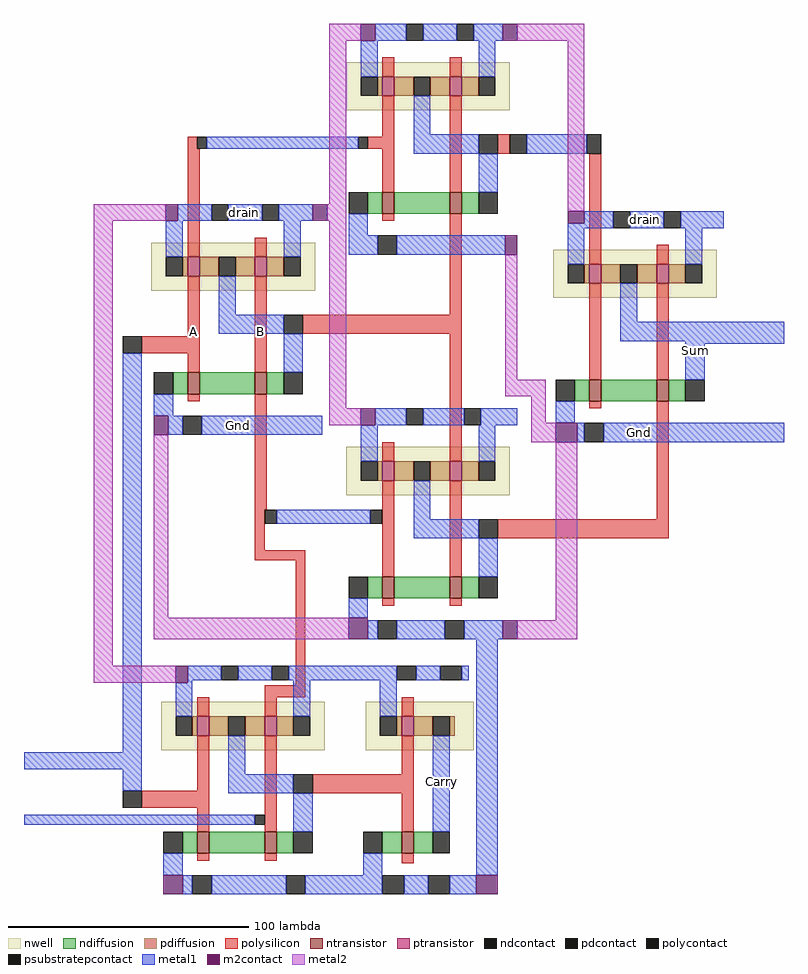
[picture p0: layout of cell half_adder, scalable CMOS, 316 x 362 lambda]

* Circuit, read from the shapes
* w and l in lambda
.subckt half_adder A B Carry Gnd Sum drain
M1 n1 A Gnd Gnd nfet w=9 l=5
M2 n2 A Gnd Gnd nfet w=9 l=5
M3 n3 B n1 Gnd nfet w=9 l=5
M4 n4 B n2 Gnd nfet w=9 l=5
M5 n5 B Gnd Gnd nfet w=9 l=5
M6 n6 A Gnd Gnd nfet w=9 l=5
M7 Carry n4 Gnd Gnd nfet w=9 l=5
M8 n7 n3 n5 Gnd nfet w=9 l=5
M9 n8 n3 n6 Gnd nfet w=9 l=5
M10 n9 n8 Gnd Gnd nfet w=9 l=5
M11 Sum n7 n9 Gnd nfet w=9 l=5
M12 n3 A drain n10 pfet w=8 l=5
M13 n4 A drain n11 pfet w=8 l=5
M14 drain B n3 n10 pfet w=8 l=5
M15 drain B n4 n11 pfet w=8 l=5
M16 n7 B drain n12 pfet w=8 l=5
M17 n8 A drain n13 pfet w=8 l=5
M18 Carry n4 drain n14 pfet w=8 l=5
M19 drain n3 n7 n12 pfet w=8 l=5
M20 drain n3 n8 n13 pfet w=8 l=5
M21 Sum n8 drain n15 pfet w=8 l=5
M22 drain n7 Sum n15 pfet w=8 l=5
.ends

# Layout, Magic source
magic
tech scmos
<< nwell >>
rect 606 367 674 387
rect 525 292 593 312
rect 692 289 760 309
rect 606 207 674 227
rect 529 101 597 121
rect 614 101 659 121
<< ntransistor >>
rect 621 324 626 333
rect 649 324 654 333
rect 540 249 545 258
rect 568 249 573 258
rect 707 246 712 255
rect 735 246 740 255
rect 621 164 626 173
rect 649 164 654 173
rect 544 58 549 67
rect 572 58 577 67
rect 629 58 634 67
<< ptransistor >>
rect 621 373 626 381
rect 649 373 654 381
rect 540 298 545 306
rect 568 298 573 306
rect 707 295 712 303
rect 735 295 740 303
rect 621 213 626 221
rect 649 213 654 221
rect 544 107 549 115
rect 572 107 577 115
rect 629 107 634 115
<< ndiffusion >>
rect 615 324 621 333
rect 626 324 649 333
rect 654 324 661 333
rect 534 249 540 258
rect 545 249 568 258
rect 573 249 580 258
rect 701 246 707 255
rect 712 246 735 255
rect 740 246 747 255
rect 615 164 621 173
rect 626 164 649 173
rect 654 164 661 173
rect 538 58 544 67
rect 549 58 572 67
rect 577 58 584 67
rect 621 58 629 67
rect 634 58 642 67
<< pdiffusion >>
rect 619 373 621 381
rect 626 373 634 381
rect 641 373 649 381
rect 654 373 661 381
rect 538 298 540 306
rect 545 298 553 306
rect 560 298 568 306
rect 573 298 580 306
rect 705 295 707 303
rect 712 295 720 303
rect 727 295 735 303
rect 740 295 747 303
rect 619 213 621 221
rect 626 213 634 221
rect 641 213 649 221
rect 654 213 661 221
rect 542 107 544 115
rect 549 107 557 115
rect 564 107 572 115
rect 577 107 584 115
rect 627 107 629 115
rect 634 107 642 115
rect 649 107 651 115
<< ndcontact >>
rect 631 396 638 403
rect 652 396 659 403
rect 550 321 557 328
rect 571 321 578 328
rect 607 324 615 333
rect 661 324 669 333
rect 717 318 724 325
rect 738 318 745 325
rect 526 249 534 258
rect 580 249 588 258
rect 631 236 638 243
rect 693 246 701 255
rect 747 246 755 255
rect 655 236 662 243
rect 554 130 561 136
rect 575 130 582 136
rect 607 164 615 173
rect 661 164 669 173
rect 627 130 635 136
rect 645 130 654 136
rect 530 58 538 67
rect 584 58 592 67
rect 613 58 621 67
rect 642 58 649 67
<< pdcontact >>
rect 612 373 619 381
rect 634 373 641 381
rect 661 373 668 381
rect 531 298 538 306
rect 553 298 560 306
rect 580 298 587 306
rect 698 295 705 303
rect 720 295 727 303
rect 747 295 754 303
rect 612 213 619 221
rect 634 213 641 221
rect 661 213 668 221
rect 535 107 542 115
rect 557 107 564 115
rect 584 107 591 115
rect 620 107 627 115
rect 642 107 649 115
<< psubstratepcontact >>
rect 619 307 627 315
rect 538 232 546 240
rect 705 229 713 237
rect 619 147 627 155
rect 647 147 655 155
rect 542 41 550 49
rect 581 41 589 49
rect 621 41 630 49
rect 640 41 649 49
<< polysilicon >>
rect 621 381 626 389
rect 649 381 654 389
rect 621 356 626 373
rect 540 351 544 356
rect 615 351 626 356
rect 540 306 545 351
rect 621 333 626 351
rect 649 333 654 373
rect 669 349 674 357
rect 621 321 626 324
rect 568 306 573 314
rect 540 273 545 298
rect 521 266 545 273
rect 540 258 545 266
rect 568 258 573 298
rect 649 282 654 324
rect 707 303 712 349
rect 735 303 740 311
rect 588 274 654 282
rect 540 246 545 249
rect 568 201 573 249
rect 621 221 626 229
rect 649 221 654 274
rect 707 255 712 295
rect 735 255 740 295
rect 707 243 712 246
rect 568 184 572 201
rect 568 180 589 184
rect 585 128 589 180
rect 621 173 626 213
rect 649 173 654 213
rect 735 197 740 246
rect 669 189 740 197
rect 621 161 626 164
rect 649 161 654 164
rect 572 123 589 128
rect 544 115 549 123
rect 572 115 577 123
rect 629 115 634 123
rect 544 84 549 107
rect 521 77 549 84
rect 544 67 549 77
rect 572 67 577 107
rect 629 91 634 107
rect 592 83 634 91
rect 629 67 634 83
rect 544 55 549 58
rect 572 55 577 58
rect 629 54 634 58
<< polycontact >>
rect 544 351 548 356
rect 611 351 615 356
rect 661 349 669 357
rect 674 349 681 357
rect 706 349 712 357
rect 513 266 521 273
rect 580 274 588 282
rect 572 195 577 201
rect 616 195 621 201
rect 661 189 669 197
rect 513 77 521 84
rect 568 70 572 74
rect 584 83 592 91
<< metal1 >>
rect 618 396 631 403
rect 638 396 652 403
rect 659 396 671 403
rect 612 381 619 396
rect 661 381 668 396
rect 634 357 641 373
rect 548 351 611 356
rect 634 349 661 357
rect 681 349 706 357
rect 661 333 669 349
rect 536 321 550 328
rect 557 321 571 328
rect 578 321 592 328
rect 531 306 538 321
rect 580 306 587 321
rect 607 315 615 324
rect 705 320 717 325
rect 698 318 717 320
rect 724 318 738 325
rect 745 318 763 325
rect 607 307 619 315
rect 627 307 672 315
rect 698 303 705 318
rect 747 303 754 318
rect 553 282 560 298
rect 553 274 580 282
rect 513 100 521 266
rect 580 258 588 274
rect 720 279 727 295
rect 720 271 788 279
rect 747 270 788 271
rect 747 255 755 270
rect 526 240 534 249
rect 532 232 538 240
rect 546 232 596 240
rect 618 236 631 243
rect 638 236 655 243
rect 662 236 677 243
rect 693 237 701 246
rect 612 221 619 236
rect 661 221 668 236
rect 702 229 705 237
rect 713 229 788 237
rect 577 195 616 201
rect 634 197 641 213
rect 634 189 661 197
rect 661 173 669 189
rect 607 156 615 164
rect 615 147 619 155
rect 627 147 647 155
rect 655 147 671 155
rect 540 130 554 136
rect 561 130 575 136
rect 582 130 627 136
rect 635 130 645 136
rect 654 130 657 136
rect 540 129 542 130
rect 535 115 542 129
rect 584 115 591 130
rect 620 115 627 130
rect 472 93 521 100
rect 513 84 521 93
rect 557 91 564 107
rect 557 83 584 91
rect 472 70 568 74
rect 584 67 592 83
rect 642 67 649 107
rect 530 49 538 58
rect 613 49 621 58
rect 660 49 669 147
rect 538 41 542 49
rect 550 41 581 49
rect 589 41 621 49
rect 630 41 640 49
rect 649 41 660 49
<< m2contact >>
rect 612 396 618 403
rect 671 396 677 403
rect 531 321 536 328
rect 592 321 598 328
rect 698 320 705 325
rect 672 307 677 315
rect 526 232 532 240
rect 612 236 618 243
rect 693 229 702 237
rect 607 147 615 156
rect 671 147 677 155
rect 535 129 540 136
rect 530 41 538 49
rect 660 41 669 49
<< metal2 >>
rect 599 396 612 403
rect 677 396 705 403
rect 599 328 606 396
rect 501 321 531 328
rect 598 321 606 328
rect 501 136 509 321
rect 599 243 606 321
rect 698 325 705 396
rect 672 255 677 307
rect 672 248 689 255
rect 599 236 612 243
rect 683 237 689 248
rect 526 156 532 232
rect 683 229 693 237
rect 526 147 607 156
rect 693 155 702 229
rect 677 147 702 155
rect 501 129 535 136
<< labels >>
rlabel metal1 698 318 763 325 5 drain
rlabel metal1 693 229 763 237 1 Gnd
rlabel polysilicon 568 258 573 292 1 B
rlabel polysilicon 540 258 545 292 1 A
rlabel metal1 526 232 596 240 1 Gnd
rlabel metal1 531 321 596 328 5 drain
rlabel metal1 642 84 649 92 1 Carry
rlabel metal1 747 255 755 279 1 Sum
<< end >>
